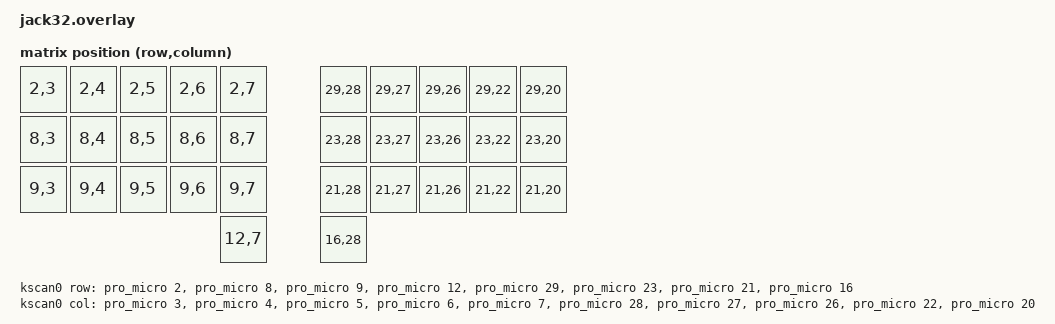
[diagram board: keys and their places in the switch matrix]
/ {
    chosen {
        zmk,kscan = &kscan0;
    };

    kscan0: kscan_0 {
        compatible = "zmk,kscan-gpio-matrix";
        diode-direction = "col2row";

        col-gpios
            = <&pro_micro 3 GPIO_ACTIVE_HIGH>
            , <&pro_micro 4 GPIO_ACTIVE_HIGH>
            , <&pro_micro 5 GPIO_ACTIVE_HIGH>
            , <&pro_micro 6 GPIO_ACTIVE_HIGH>
            , <&pro_micro 7 GPIO_ACTIVE_HIGH>
            , <&pro_micro 28 GPIO_ACTIVE_HIGH>
            , <&pro_micro 27 GPIO_ACTIVE_HIGH>
            , <&pro_micro 26 GPIO_ACTIVE_HIGH>
            , <&pro_micro 22 GPIO_ACTIVE_HIGH>
            , <&pro_micro 20 GPIO_ACTIVE_HIGH>
            ;

        row-gpios
            = <&pro_micro 2 (GPIO_ACTIVE_HIGH | GPIO_PULL_DOWN)>
            , <&pro_micro 8 (GPIO_ACTIVE_HIGH | GPIO_PULL_DOWN)>
            , <&pro_micro 9 (GPIO_ACTIVE_HIGH | GPIO_PULL_DOWN)>
            , <&pro_micro 12 (GPIO_ACTIVE_HIGH | GPIO_PULL_DOWN)>
            , <&pro_micro 29 (GPIO_ACTIVE_HIGH | GPIO_PULL_DOWN)>
            , <&pro_micro 23 (GPIO_ACTIVE_HIGH | GPIO_PULL_DOWN)>
            , <&pro_micro 21 (GPIO_ACTIVE_HIGH | GPIO_PULL_DOWN)>
            , <&pro_micro 16 (GPIO_ACTIVE_HIGH | GPIO_PULL_DOWN)>
            ;
    };
};

#include <dt-bindings/zmk/matrix_transform.h>

/ {
    chosen {
        zmk,kscan = &kscan0;
        zmk,matrix-transform = &default_transform;
    };

    default_transform: keymap_transform_0 {
        compatible = "zmk,matrix-transform";
        columns = <10>;
        rows = <8>;
// | SW1  | SW2  | SW3  | SW4  | SW5  |     | SW6  | SW7  | SW8  | SW9  | SW10 |
// | SW11 | SW12 | SW13 | SW14 | SW15 |     | SW16 | SW17 | SW18 | SW19 | SW20 |
// | SW21 | SW22 | SW23 | SW24 | SW25 |     | SW26 | SW27 | SW28 | SW29 | SW30 |
//                             | SW31 |     | SW32 |
        map = <
RC(2,3) RC(2,4) RC(2,5) RC(2,6) RC(2,7)      RC(29,28) RC(29,27) RC(29,26) RC(29,22) RC(29,20)
RC(8,3) RC(8,4) RC(8,5) RC(8,6) RC(8,7)      RC(23,28) RC(23,27) RC(23,26) RC(23,22) RC(23,20)
RC(9,3) RC(9,4) RC(9,5) RC(9,6) RC(9,7)      RC(21,28) RC(21,27) RC(21,26) RC(21,22) RC(21,20)
                                RC(12,7)     RC(16,28)
        >;
    };
}
